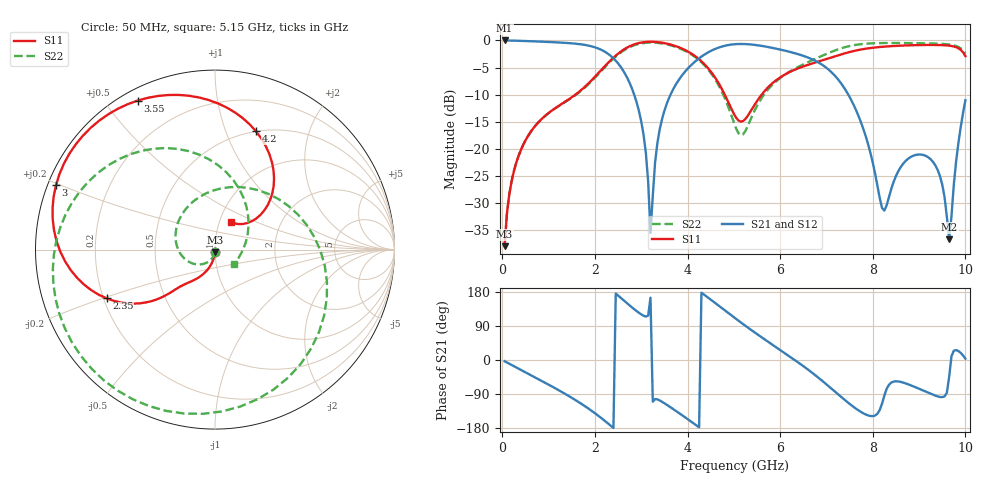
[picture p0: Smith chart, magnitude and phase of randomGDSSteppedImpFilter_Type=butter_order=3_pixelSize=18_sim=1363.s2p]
! freq	dB(S11)	phase(S11)	dB(S12)	phase(S12)
!  dB(S21)	phase(S21)	dB(S22)	phase(S22)
!S-par simulation data
#  GHz  S  DB  R 50
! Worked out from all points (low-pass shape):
!   200 points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, 50 MHz to 10 GHz, reference 50 ohm
!   highest |S21| = 0.00 dB at 50 MHz (marker M1); lowest = -36.7 dB at 9.65 GHz (marker M2)
!   |S21| within 3 dB of the highest: start of sweep to 2.362 GHz; 4.296 GHz to 6.554 GHz (2.258 GHz wide, 41.6 % of centre)
!   lowest |S11| = -38.0 dB at 50 MHz (marker M3), VSWR 1.03, Z = 49.9 - j1.26 ohm
!   |S11| at or under -10 dB: start of sweep to 1.578 GHz; 4.803 GHz to 5.601 GHz (797.4 MHz wide, 15.3 % of centre)
!   |S22| runs from -38.0 to -0.4 dB; largest |S21 - S12| = 0
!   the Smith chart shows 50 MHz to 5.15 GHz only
!   S11 on the Smith chart (normalised r, x): 50 MHz: 1.00, -0.03; 2.35 GHz: 0.21, -0.21; 3 GHz: 0.02, +0.20; 3.55 GHz: 0.05, +0.61; 4.2 GHz: 0.50, +1.28; 5.15 GHz: 1.14, +0.36
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0.05  -37.96 -92.2  -0.00 -3.2  -0.00 -3.2  -37.96 -94.7
0.45  -19.29 -108.6  -0.09 -29.1  -0.09 -29.1  -19.30 -131.4
1.15  -12.45 -129.1  -0.34 -75.0  -0.34 -75.0  -12.49 157.6
1.75  -8.81 -136.7  -0.78 -119.0  -0.78 -119.0  -8.95 77.0
2.35  -3.57 -155.8  -2.91 -174.3  -2.91 -174.3  -3.76 -15.9
3  -0.39 157.9  -14.94 120.4  -14.94 120.4  -0.55 -106.8
3.2  -0.24 142.9  -35.51 164.4  -35.51 164.4  -0.39 -130.5
3.4  -0.35 128.2  -16.39 -106.8  -16.39 -106.8  -0.50 -152.4
3.55  -0.58 117.4  -11.71 -118.0  -11.71 -118.0  -0.72 -168.0
4.2  -3.13 70.9  -3.62 -173.3  -3.62 -173.3  -3.29 126.4
5.05  -14.26 47.2  -0.68 108.2  -0.68 108.2  -16.26 -2.2
5.15  -14.98 59.4  -0.65 99.1  -0.65 99.1  -17.51 -38.4
5.95  -7.11 51.4  -1.58 30.8  -1.58 30.8  -7.27 -172.8
6.7  -4.23 -30.9  -3.51 -34.5  -3.51 -34.5  -3.62 138.9
7.15  -3.02 -100.6  -6.22 -79.9  -6.22 -79.9  -1.96 112.5
7.6  -1.93 -174.0  -12.13 -125.1  -12.13 -125.1  -0.86 84.1
8.2  -1.17 108.1  -30.91 -115.3  -30.91 -115.3  -0.48 48.8
8.35  -1.08 92.5  -28.87 -65.3  -28.87 -65.3  -0.47 40.8
9.2  -0.83 19.7  -21.57 -86.5  -21.57 -86.5  -0.54 -1.0
9.5  -0.86 -4.2  -26.60 -98.0  -26.60 -98.0  -0.63 -16.0
9.65  -0.96 -17.4  -36.71 -43.8  -36.71 -43.8  -0.74 -24.3
10  -2.90 -60.4  -11.03 3.6  -11.03 3.6  -2.40 -49.7
